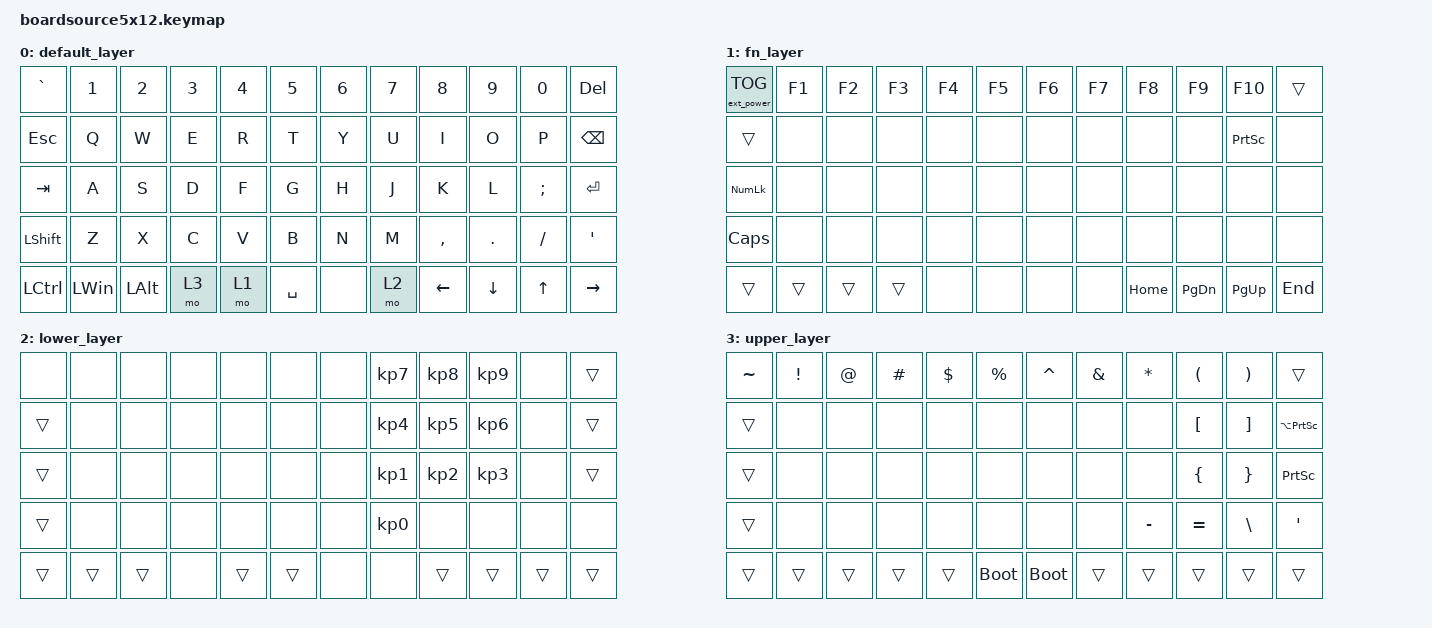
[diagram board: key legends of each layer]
/*
 * Copyright (c) 2021 The ZMK Contributors
 *
 * SPDX-License-Identifier: MIT
 */

#include <behaviors.dtsi>
#include <dt-bindings/zmk/ext_power.h>
#include <dt-bindings/zmk/keys.h>

/ {
    keymap {
        compatible = "zmk,keymap";

        default_layer {
            // ------------------------------------------------------------------------------------------
            // |  ESC  |  1   |  2   |  3   |  4   |  5   |   6   |  7    |  8   |  9   |   0   | BSPC  |
            // |  TAB  |  Q   |  W   |  E   |  R   |  T   |   Y   |  U    |  I   |  O   |   P   |  \    |
            // | SHIFT |  A   |  S   |  D   |  F   |  G   |   H   |  J    |  K   |  L   |   ;   |  '    |
            // | CTRL  |  Z   |  X   |  C   |  V   |  B   |   N   |  M    |  ,   |  .   |   /   | ENTER |
            // |ADJUST | LCTL | LALT | LGUI | LOWR | SPACE| SPACE |  RAIS | LEFT | DOWN | UARW  | RARW  |

            bindings = <
&kp GRAVE       &kp N1        &kp N2    &kp N3  &kp N4  &kp N5     &kp N6  &kp N7  &kp N8     &kp N9    &kp N0    &kp DEL
&kp ESC         &kp Q         &kp W     &kp E   &kp R   &kp T      &kp Y   &kp U   &kp I      &kp O     &kp P     &kp BSPC
&kp TAB         &kp A         &kp S     &kp D   &kp F   &kp G      &kp H   &kp J   &kp K      &kp L     &kp SEMI  &kp ENTER
&kp LEFT_SHIFT  &kp Z         &kp X     &kp C   &kp V   &kp B      &kp N   &kp M   &kp COMMA  &kp DOT   &kp FSLH  &kp SINGLE_QUOTE
&kp LCTRL       &kp LEFT_WIN  &kp LALT  &mo 3   &mo 1   &kp SPACE  &none   &mo 2   &kp LEFT   &kp DOWN  &kp UP    &kp RIGHT
            >;
        };

        fn_layer {
            // -------------------------------------------------------------------------------------------
            // |  ESC  |  F2  |  F3  |  F4  |  F5  |  F6  |   F7  |  F8   |  F9  | F10  |  F11  |  F12  |
            // |   ~   |  !   |  @   |  #   |  $   |  %   |   ^   |   &   |  *   |  (   |   )   |  DEL  |
            // |       |  F1  |  F2  |  F3  |  F4  |  F5  |   F6  |   _   |  +   |  {   |   }   |   |   |
            // |       |  F7  |  F8  |  F9  |  F10 |  F11 |   F12 | LS(#) |LS(|) |      |       |       |
            // |       |      |      |      |      |      |       |       | NEXT | Vol- | Vol+ | PLAY   |

            bindings = <
&ext_power EP_TOG  &kp F1  &kp F2  &kp F3  &kp F4  &kp F5  &kp F6  &kp F7  &kp F8    &kp F9         &kp F10          &trans
&trans             &none   &none   &none   &none   &none   &none   &none   &none     &none          &kp PRINTSCREEN  &none
&kp KP_NLCK        &none   &none   &none   &none   &none   &none   &none   &none     &none          &none            &none
&kp CLCK           &none   &none   &none   &none   &none   &none   &none   &none     &none          &none            &none
&trans             &trans  &trans  &trans  &none   &none   &none   &none   &kp HOME  &kp PAGE_DOWN  &kp PG_UP        &kp END
            >;
        };

        lower_layer {
            // ------------------------------------------------------------------------------------------
            // |  ESC  |  F2  |  F3  |  F4  |  F5  |  F6  |  F7   |  F8   |  F9  | F10  |  F11  |  F12  |
            // |   ~   |  1   |  2   |  3   |  4   |  5   |  6    |   7   |  8   |  9   |   0   |  DEL  |
            // |  DEL  |  F1  |  F2  |  F3  |  F4  |  F5  |  F6   |   -   |  =   |  [   |   ]   |   \   |
            // |       |  F7  |  F8  |  F9  |  F10 |  F11 |  F12  |   #   |  |   |      |       |       |
            // |       |      |      |      |      |      |       |       |       |      |      |       |

            bindings = <
&none   &none   &none   &none  &none   &none   &none  &kp KP_NUMBER_7  &kp KP_NUMBER_8  &kp KP_NUMBER_9  &none   &trans
&trans  &none   &none   &none  &none   &none   &none  &kp KP_NUMBER_4  &kp KP_NUMBER_5  &kp KP_NUMBER_6  &none   &trans
&trans  &none   &none   &none  &none   &none   &none  &kp KP_NUMBER_1  &kp KP_NUMBER_2  &kp KP_NUMBER_3  &none   &trans
&trans  &none   &none   &none  &none   &none   &none  &kp KP_NUMBER_0  &none            &none            &none   &none
&trans  &trans  &trans  &none  &trans  &trans  &none  &none            &trans           &trans           &trans  &trans
            >;
        };

        upper_layer {
            // ------------------------------------------------------------------------------------------
            // |tog(4)|  F2  |  F3  |  F4  |  F5  |  F6  |  F7  |  F8  |  F9  |  F10 |  F11 |    F12    |
            // |      |  NA  |  NA  |  NA  |  NA  |  NA  |  NA  |  NA  |  NA  |  NA  |  NA  |LALT(PRTSN)|
            // |      |  NA  |  NA  |  NA  |  NA  |  NA  |  NA  |  NA  |  NA  |  NA  |  NA  |   PRTSN   |
            // |      |  NA  |  NA  |  NA  |  NA  |  NA  |  NA  |  NA  |  NA  |  NA  |  NA  |LCTRL(DEL) |
            // |      |      |      |      |      |BOOTLD|BOOTLD|      |      |      |      |           |

            bindings = <
&kp TILDE  &kp EXCL  &kp AT  &kp HASH  &kp DOLLAR  &kp PERCENT  &kp CARET    &kp AMPS  &kp ASTERISK  &kp LEFT_PARENTHESIS  &kp RIGHT_PARENTHESIS  &trans
&trans     &none     &none   &none     &none       &none        &none        &none     &none         &kp LEFT_BRACKET      &kp RIGHT_BRACKET      &kp LA(PSCRN)
&trans     &none     &none   &none     &none       &none        &none        &none     &none         &kp LEFT_BRACE        &kp RIGHT_BRACE        &kp PSCRN
&trans     &none     &none   &none     &none       &none        &none        &none     &kp MINUS     &kp EQUAL             &kp BACKSLASH          &kp SINGLE_QUOTE
&trans     &trans    &trans  &trans    &trans      &bootloader  &bootloader  &trans    &trans        &trans                &trans                 &trans
            >;
        };
    };
};
